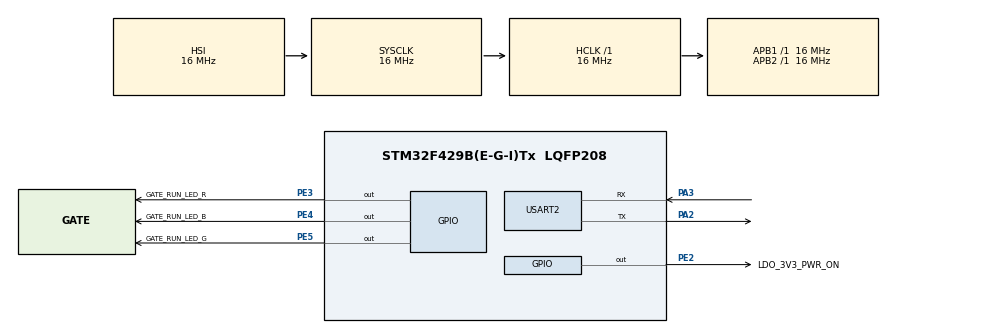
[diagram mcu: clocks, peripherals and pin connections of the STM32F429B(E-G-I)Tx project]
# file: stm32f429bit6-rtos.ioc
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Dma.Request0=USART2_RX
Dma.USART2_RX.0.Direction=DMA_PERIPH_TO_MEMORY
Dma.USART2_RX.0.FIFOMode=DMA_FIFOMODE_DISABLE
Dma.USART2_RX.0.Instance=DMA1_Stream5
Dma.USART2_RX.0.MemDataAlignment=DMA_MDATAALIGN_BYTE
Dma.USART2_RX.0.MemInc=DMA_MINC_ENABLE
Dma.USART2_RX.0.Mode=DMA_CIRCULAR
Dma.USART2_RX.0.PeriphDataAlignment=DMA_PDATAALIGN_BYTE
Dma.USART2_RX.0.PeriphInc=DMA_PINC_DISABLE
Dma.USART2_RX.0.Priority=DMA_PRIORITY_LOW
FREERTOS.Tasks01=defaultTask,0,128,StartDefaultTask,Default,NULL,Dynamic,NULL,NULL
FREERTOS.configUSE_NEWLIB_REENTRANT=1
Mcu.Family=STM32F4
Mcu.Name=STM32F429B(E-G-I)Tx
Mcu.Package=LQFP208
NVIC.DMA1_Stream5_IRQn=true\:5\:0\:false\:false\:true\:true\:false\:true\:true
NVIC.PriorityGroup=NVIC_PRIORITYGROUP_4
NVIC.USART2_IRQn=true\:5\:0\:false\:false\:true\:true\:true\:true\:true
PA13.Mode=Serial_Wire
PA13.Signal=SYS_JTMS-SWDIO
PA14.Mode=Serial_Wire
PA14.Signal=SYS_JTCK-SWCLK
PA2.Mode=Asynchronous
PA2.Signal=USART2_TX
PA3.Mode=Asynchronous
PA3.Signal=USART2_RX
PC14/OSC32_IN.Mode=LSE-External-Oscillator
PC14/OSC32_IN.Signal=RCC_OSC32_IN
PC15/OSC32_OUT.Mode=LSE-External-Oscillator
PC15/OSC32_OUT.Signal=RCC_OSC32_OUT
PE2.GPIO_Label=LDO_3V3_PWR_ON
PE2.Signal=GPIO_Output
PE3.GPIO_Label=GATE_RUN_LED_R
PE3.Signal=GPIO_Output
PE4.GPIO_Label=GATE_RUN_LED_B
PE4.Signal=GPIO_Output
PE5.GPIO_Label=GATE_RUN_LED_G
PE5.Signal=GPIO_Output
PH0/OSC_IN.Mode=HSE-External-Oscillator
PH0/OSC_IN.Signal=RCC_OSC_IN
PH1/OSC_OUT.Mode=HSE-External-Oscillator
PH1/OSC_OUT.Signal=RCC_OSC_OUT
ProjectManager.HeapSize=0x200
ProjectManager.StackSize=0x400
ProjectManager.TargetToolchain=STM32CubeIDE
RCC.AHBFreq_Value=16000000
RCC.APB1Freq_Value=16000000
RCC.APB2Freq_Value=16000000
RCC.CortexFreq_Value=16000000
RCC.HSE_VALUE=25000000
RCC.HSI_VALUE=16000000
RCC.SYSCLKFreq_VALUE=16000000
RCC.VCOOutputFreq_Value=192000000
USART2.VirtualMode=VM_ASYNC
VP_FREERTOS_VS_CMSIS_V1.Mode=CMSIS_V1
board=custom

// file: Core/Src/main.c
/* USER CODE BEGIN Header */
/**
  ******************************************************************************
  * @file           : main.c
  * @brief          : Main program body
  ******************************************************************************
  * @attention
  *
  * Copyright (c) 2024 STMicroelectronics.
  * All rights reserved.
  *
  * This software is licensed under terms that can be found in the LICENSE file
  * in the root directory of this software component.
  * If no LICENSE file comes with this software, it is provided AS-IS.
  *
  ******************************************************************************
  */
/* USER CODE END Header */
#include "main.h"
#include "cmsis_os.h"

/* USER CODE BEGIN Includes */
#include <stdio.h>
#include <string.h>
#include <stdlib.h>
/* USER CODE END Includes */

/* USER CODE BEGIN PD */
#ifdef __GNUC__
#define PUTCHAR_PROTOTYPE int __io_putchar(int ch)
#else
#define PUTCHAR_PROTOTYPE int fputc(int ch, FILE *f)
#endif /* __GNUC__ */

#ifdef __GNUC__
#define GETCHAR_PROTOTYPE int __io_getchar(void)
#else
#define GETCHAR_PROTOTYPE int fgetc(FILE *f)
#endif /* __GNUC__ */

#define DEBUG_MONITOR_BUFFER_SIZE 	32
#define DEBUG_MONITOR_ARGC_SIZE 	4

/* USER CODE END PD */

UART_HandleTypeDef huart2;
DMA_HandleTypeDef hdma_usart2_rx;

osThreadId defaultTaskHandle;
/* USER CODE BEGIN PV */
osThreadId debugMonitorHandle;

osMessageQId debugMonitorQueueHandle;

/*** Static Variables ***/
static uint8_t s_bufferRx[DEBUG_MONITOR_BUFFER_SIZE];
//static uint8_t s_bufferTx[DEBUG_MONITOR_BUFFER_SIZE];
uint8_t s_bufferRxRp = 0, stopDefaultTask = 0;
uint32_t ProducerValue = 0, ConsumerValue = 0;
static char s_storedCommand[DEBUG_MONITOR_BUFFER_SIZE];
static uint32_t s_storedCommandIndex = 0;

/* USER CODE END PV */

void SystemClock_Config(void);
static void MX_GPIO_Init(void);
static void MX_DMA_Init(void);
static void MX_USART2_UART_Init(void);
void StartDefaultTask(void const * argument);

/* USER CODE BEGIN PFP */
void debugMonitorTask(void const * argument);
static uint32_t led(char *argv[], uint32_t argc);
/* USER CODE END PFP */

typedef struct {
  char* cmd;
  uint32_t (*func)(char *argv[], uint32_t argc);
} DEBUG_MON_COMMAND;

DEBUG_MON_COMMAND s_debugCommands[] = {
//  {"enc", enc},
//  {"ls", ls},
//  {"fatfs", fatfs},
  {"led",   led},
//  {"cap",   cap},
//  {"mode",  mode},
//  {"test1", test1},
//  {"test2", test2},
  {(void*)0, (void*)0}
};

/* USER CODE BEGIN 0 */
PUTCHAR_PROTOTYPE
{
	if(HAL_UART_Transmit(&huart2, (uint8_t *)&ch, 1, 10) != HAL_OK)
		return -1;
	return ch;
}
//
GETCHAR_PROTOTYPE
{
//	char data[4];
	uint8_t ch = 0; //, len = 1;
//
//	while(HAL_UART_Receive(&huart2, &ch, 1, 10) != HAL_OK)
//	{
//	}
//
//	memset(data, 0x00, 4);
//	switch(ch)
//	{
//		case '\r':
//		case '\n':
//			len = 2;
//			sprintf(data, "\r\n");
//			break;
//
//		case '\b':
//		case 0x7F:
//			len = 3;
//			sprintf(data, "\b \b");
//			break;
//
//		default:
//			data[0] = ch;
//			break;
//	}
////	HAL_UART_Transmit(&huart2, (uint8_t *)data, len, 10);
	return ch;
}
/* USER CODE END 0 */

int main(void)
{

  /* MCU Configuration--------------------------------------------------------*/

  /* Reset of all peripherals, Initializes the Flash interface and the Systick. */
  HAL_Init();

  /* Configure the system clock */
  SystemClock_Config();

  /* Initialize all configured peripherals */
  MX_GPIO_Init();
  MX_DMA_Init();
  MX_USART2_UART_Init();
  /* USER CODE BEGIN 2 */
  s_bufferRxRp = 0;

  setbuf(stdin, NULL);
  setbuf(stdout, NULL);
  setbuf(stderr, NULL);

  printf("stm32f429bit-rtos\r\n");
//
//  printf("Enter Ch:");
//  scanf("%c", &ch);
//  printf("%c\r\n", ch);

  /* USER CODE END 2 */

  /* USER CODE BEGIN RTOS_QUEUES */
  /* add queues, ... */
  osMessageQDef(debugMonitorQueue, 16, uint16_t);
  debugMonitorQueueHandle = osMessageCreate(osMessageQ(debugMonitorQueue), NULL);
  /* USER CODE END RTOS_QUEUES */

  /* Create the thread(s) */
  /* definition and creation of defaultTask */
  osThreadDef(defaultTask, StartDefaultTask, osPriorityNormal, 0, 128);
  defaultTaskHandle = osThreadCreate(osThread(defaultTask), NULL);

  /* USER CODE BEGIN RTOS_THREADS */
  /* add threads, ... */
  osThreadDef(debugMonitor, debugMonitorTask, osPriorityIdle, 0, 512);
  debugMonitorHandle = osThreadCreate(osThread(debugMonitor), NULL);
  /* USER CODE END RTOS_THREADS */

  /* Start scheduler */
  osKernelStart();

  /* We should never get here as control is now taken by the scheduler */
  /* Infinite loop */
  while (1)
  {

  }
}

void SystemClock_Config(void)
{
  RCC_OscInitTypeDef RCC_OscInitStruct = {0};
  RCC_ClkInitTypeDef RCC_ClkInitStruct = {0};

  /** Configure the main internal regulator output voltage
  */
  __HAL_RCC_PWR_CLK_ENABLE();
  __HAL_PWR_VOLTAGESCALING_CONFIG(PWR_REGULATOR_VOLTAGE_SCALE3);

  /** Initializes the RCC Oscillators according to the specified parameters
  * in the RCC_OscInitTypeDef structure.
  */
  RCC_OscInitStruct.OscillatorType = RCC_OSCILLATORTYPE_HSI;
  RCC_OscInitStruct.HSIState = RCC_HSI_ON;
  RCC_OscInitStruct.HSICalibrationValue = RCC_HSICALIBRATION_DEFAULT;
  RCC_OscInitStruct.PLL.PLLState = RCC_PLL_NONE;
  if (HAL_RCC_OscConfig(&RCC_OscInitStruct) != HAL_OK)
  {
    Error_Handler();
  }

  /** Initializes the CPU, AHB and APB buses clocks
  */
  RCC_ClkInitStruct.ClockType = RCC_CLOCKTYPE_HCLK|RCC_CLOCKTYPE_SYSCLK
                              |RCC_CLOCKTYPE_PCLK1|RCC_CLOCKTYPE_PCLK2;
  RCC_ClkInitStruct.SYSCLKSource = RCC_SYSCLKSOURCE_HSI;
  RCC_ClkInitStruct.AHBCLKDivider = RCC_SYSCLK_DIV1;
  RCC_ClkInitStruct.APB1CLKDivider = RCC_HCLK_DIV1;
  RCC_ClkInitStruct.APB2CLKDivider = RCC_HCLK_DIV1;

  if (HAL_RCC_ClockConfig(&RCC_ClkInitStruct, FLASH_LATENCY_0) != HAL_OK)
  {
    Error_Handler();
  }
}

static void MX_USART2_UART_Init(void)
{

  huart2.Instance = USART2;
  huart2.Init.BaudRate = 115200;
  huart2.Init.WordLength = UART_WORDLENGTH_8B;
  huart2.Init.StopBits = UART_STOPBITS_1;
  huart2.Init.Parity = UART_PARITY_NONE;
  huart2.Init.Mode = UART_MODE_TX_RX;
  huart2.Init.HwFlowCtl = UART_HWCONTROL_NONE;
  huart2.Init.OverSampling = UART_OVERSAMPLING_16;
  if (HAL_UART_Init(&huart2) != HAL_OK)
  {
    Error_Handler();
  }
  /* USER CODE BEGIN USART2_Init 2 */
  //UART DMA 수신 데이터 메모리 연결해 주는 역할
  //idle 인터럽트 없이 데이터 수신할 경우
  //HAL_UART_Receive_DMA(&huart2, s_bufferRx, DEBUG_MONITOR_BUFFER_SIZE);
  //or
  //idle 인터럽트 통해서 데이터 수신할 경우
  HAL_UARTEx_ReceiveToIdle_DMA(&huart2, s_bufferRx, DEBUG_MONITOR_BUFFER_SIZE);

  //HaftComplte Interrupt 사용하지 않을 경우 비활성화
  __HAL_DMA_DISABLE_IT(&hdma_usart2_rx, DMA_IT_HT);
  /* USER CODE END USART2_Init 2 */

}

static void MX_DMA_Init(void)
{

  /* DMA controller clock enable */
  __HAL_RCC_DMA1_CLK_ENABLE();

  /* DMA interrupt init */
  /* DMA1_Stream5_IRQn interrupt configuration */
  HAL_NVIC_SetPriority(DMA1_Stream5_IRQn, 5, 0);
  HAL_NVIC_EnableIRQ(DMA1_Stream5_IRQn);

}

static void MX_GPIO_Init(void)
{
  GPIO_InitTypeDef GPIO_InitStruct = {0};

  /* GPIO Ports Clock Enable */
  __HAL_RCC_GPIOE_CLK_ENABLE();
  __HAL_RCC_GPIOC_CLK_ENABLE();
  __HAL_RCC_GPIOH_CLK_ENABLE();
  __HAL_RCC_GPIOA_CLK_ENABLE();

  /*Configure GPIO pin Output Level */
  HAL_GPIO_WritePin(GPIOE, LDO_3V3_PWR_ON_Pin|GATE_RUN_LED_R_Pin|GATE_RUN_LED_B_Pin|GATE_RUN_LED_G_Pin, GPIO_PIN_RESET);

  /*Configure GPIO pins : LDO_3V3_PWR_ON_Pin GATE_RUN_LED_R_Pin GATE_RUN_LED_B_Pin GATE_RUN_LED_G_Pin */
  GPIO_InitStruct.Pin = LDO_3V3_PWR_ON_Pin|GATE_RUN_LED_R_Pin|GATE_RUN_LED_B_Pin|GATE_RUN_LED_G_Pin;
  GPIO_InitStruct.Mode = GPIO_MODE_OUTPUT_PP;
  GPIO_InitStruct.Pull = GPIO_NOPULL;
  GPIO_InitStruct.Speed = GPIO_SPEED_FREQ_LOW;
  HAL_GPIO_Init(GPIOE, &GPIO_InitStruct);

}

/* USER CODE BEGIN 4 */

static uint32_t led(char *argv[], uint32_t argc)
{
	uint32_t onoff = atoi(argv[0]);

	printf("LED:%ld\r\n", onoff);

	if(onoff == 0){
		HAL_GPIO_WritePin(GATE_RUN_LED_R_GPIO_Port, GATE_RUN_LED_R_Pin, GPIO_PIN_RESET);
		HAL_GPIO_WritePin(GATE_RUN_LED_G_GPIO_Port, GATE_RUN_LED_G_Pin, GPIO_PIN_RESET);
		HAL_GPIO_WritePin(GATE_RUN_LED_B_GPIO_Port, GATE_RUN_LED_B_Pin, GPIO_PIN_RESET);
		stopDefaultTask = 1;
	}
	else{
		stopDefaultTask = 0;
	}
	return 1;
}

void usart_process_data(const void* data, size_t len)
{
    const uint8_t* d = data;

    /*
     * This function is called on DMA TC or HT events, and on UART IDLE (if enabled) event.
     *
     * For the sake of this example, function does a loop-back data over UART in polling mode.
     * Check ringbuff RX-based example for implementation with TX & RX DMA transfer.
     */

    for (; len > 0; --len, ++d) {
    	HAL_UART_Transmit(&huart2, d, 1, 10);
        //LL_USART_TransmitData8(USART3, *d);
        //while (!LL_USART_IsActiveFlag_TXE(&huart2)) {}
        while(!(READ_BIT(huart2.Instance->SR, USART_SR_TXE) == (USART_SR_TXE))){}
    }
    //while (!LL_USART_IsActiveFlag_TC(&huart2)) {}
    while(!(READ_BIT(huart2.Instance->SR, USART_SR_TC) == (USART_SR_TC))){}
}

/**
 * \brief           Send string to USART
 * \param[in]       str: String to send
 */
void printf_(const char* str) {
    usart_process_data(str, strlen(str));
}
void HAL_UARTEx_RxEventCallback(UART_HandleTypeDef *huart, uint16_t Size)
{
	if(((DEBUG_MONITOR_BUFFER_SIZE -__HAL_DMA_GET_COUNTER(&hdma_usart2_rx))&(DEBUG_MONITOR_BUFFER_SIZE-1)) != s_bufferRxRp){
		HAL_UART_Transmit(&huart2, &s_bufferRx[s_bufferRxRp], 1, 10);

		/* check if one line is done */
		if (s_bufferRx[s_bufferRxRp] == '\n' || s_bufferRx[s_bufferRxRp] == '\r' || s_bufferRxRp == DEBUG_MONITOR_BUFFER_SIZE-1) {
			osMessagePut(debugMonitorQueueHandle, ++ProducerValue, 100);
		}
		s_bufferRxRp++;
		s_bufferRxRp &= (DEBUG_MONITOR_BUFFER_SIZE - 1);
	}
}

void HAL_UART_RxHalfCpltCallback(UART_HandleTypeDef *huart)
{
	printf_("HT");
}
void HAL_UART_RxCpltCallback(UART_HandleTypeDef *huart)
{
	printf_("CP");
}

void debugMonitorShow()
{
	printf("Command List");

	for(uint32_t i = 0; s_debugCommands[i].cmd != (void*)0; i++){
		printf("%s\r\n", s_debugCommands[i].cmd);
	}
}

void debugMonitorTask(void const * argument)
{
	osEvent event;

	printf("debugMonitorTask\r\n");

	/* Infinite loop */
	for(;;)
	{
	    /* Get the message from the queue */
	    event = osMessageGet(debugMonitorQueueHandle, osWaitForever);

	    if(event.status == osEventMessage){
	    	if(event.value.v != ConsumerValue){
	    		/* Catch-up. */
	            ConsumerValue = event.value.v;

	            /* Simply call processing function */
	            memcpy(s_storedCommand, s_bufferRx, s_bufferRxRp);
	            s_storedCommandIndex = s_bufferRxRp;

	            /* split input command */
				char *argv[DEBUG_MONITOR_ARGC_SIZE] = {0};
				uint32_t argc = 0;

				argv[argc++] = &s_storedCommand[0];

				for(uint32_t i = 2; i <= s_storedCommandIndex; i++){
					if(s_storedCommand[i] == '\r' || s_storedCommand[i] == '\n'){
						s_storedCommand[i] = '\0';
						break;
					}
					if(s_storedCommand[i] == ' '){
						s_storedCommand[i] = '\0';
						argv[argc++] = &s_storedCommand[i+1];

						if(argc == DEBUG_MONITOR_ARGC_SIZE){
							break;
						}
					}
				}

				/* call corresponding debug command */
				uint32_t ret = 0;
				for (uint32_t i = 0; s_debugCommands[i].cmd != (void*)0; i++) {
					if (strcmp(s_debugCommands[i].cmd, argv[0]) == 0) {
						ret = s_debugCommands[i].func(&argv[1], argc-1);
//						printf(">");
					}
				}

				if(ret != 1){
					debugMonitorShow();
				}

				s_storedCommandIndex = 0;
				memset(s_storedCommand, '0', DEBUG_MONITOR_BUFFER_SIZE);
	    	}
	    	else{
	    		/* Increment the value we expect to remove from the queue next time round. */
	    		++ConsumerValue;
	    		printf_("CV+");
	    	}
	    }
		osDelay(1);
	}
}

/* USER CODE END 4 */

void StartDefaultTask(void const * argument)
{
  /* USER CODE BEGIN 5 */
	printf("StartDefaultTask\r\n");
	HAL_GPIO_WritePin(LDO_3V3_PWR_ON_GPIO_Port, LDO_3V3_PWR_ON_Pin, GPIO_PIN_SET);
  /* Infinite loop */
  for(;;)
  {
	  if(!stopDefaultTask){
		  HAL_GPIO_WritePin(GATE_RUN_LED_R_GPIO_Port, GATE_RUN_LED_R_Pin, GPIO_PIN_SET);
		  HAL_GPIO_WritePin(GATE_RUN_LED_G_GPIO_Port, GATE_RUN_LED_G_Pin, GPIO_PIN_RESET);
		  HAL_GPIO_WritePin(GATE_RUN_LED_B_GPIO_Port, GATE_RUN_LED_B_Pin, GPIO_PIN_RESET);
		  osDelay(500);
		  HAL_GPIO_WritePin(GATE_RUN_LED_R_GPIO_Port, GATE_RUN_LED_R_Pin, GPIO_PIN_RESET);
		  HAL_GPIO_WritePin(GATE_RUN_LED_G_GPIO_Port, GATE_RUN_LED_G_Pin, GPIO_PIN_SET);
		  HAL_GPIO_WritePin(GATE_RUN_LED_B_GPIO_Port, GATE_RUN_LED_B_Pin, GPIO_PIN_RESET);
		  osDelay(500);
		  HAL_GPIO_WritePin(GATE_RUN_LED_R_GPIO_Port, GATE_RUN_LED_R_Pin, GPIO_PIN_RESET);
		  HAL_GPIO_WritePin(GATE_RUN_LED_G_GPIO_Port, GATE_RUN_LED_G_Pin, GPIO_PIN_RESET);
		  HAL_GPIO_WritePin(GATE_RUN_LED_B_GPIO_Port, GATE_RUN_LED_B_Pin, GPIO_PIN_SET);
		  osDelay(500);
	  }

  }
  /* USER CODE END 5 */
}

void Error_Handler(void)
{
  __disable_irq();
  while (1)
  {
  }
}
